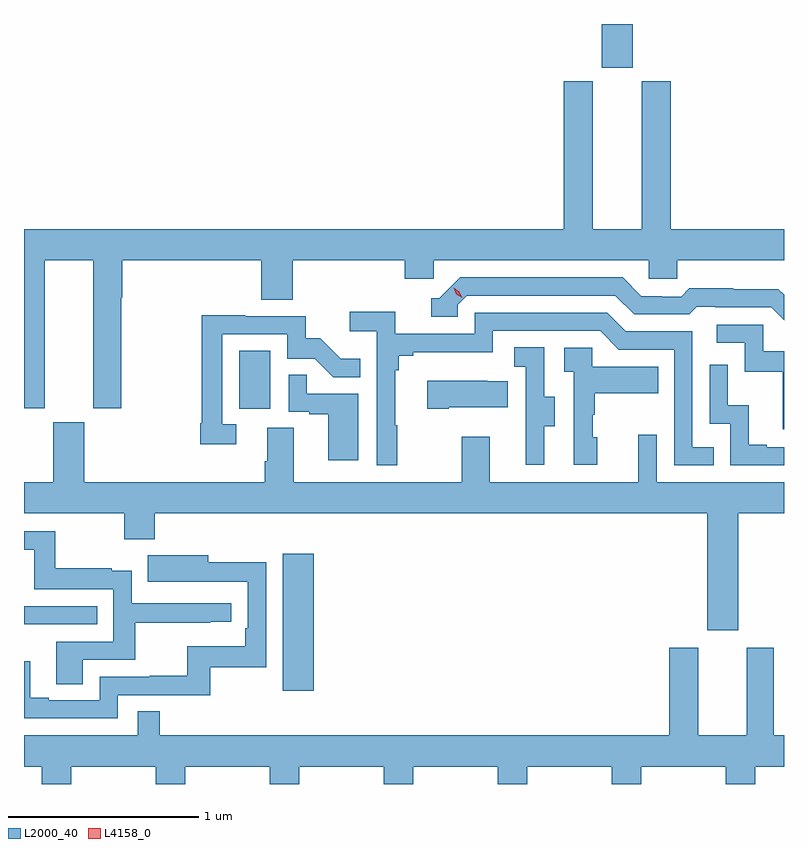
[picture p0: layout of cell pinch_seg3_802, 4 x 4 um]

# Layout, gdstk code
import gdstk
lib = gdstk.Library(unit=1e-6, precision=1e-09)
def R(c, l, rs):  # rectangles x0, y0, x1, y1
    for r in rs: c.add(gdstk.rectangle(r[:2], r[2:], *l))
def P(c, l, *ps):  # polygons
    for p in ps: c.add(gdstk.Polygon(p, *l))
L2000_40 = (2000, 40)
L4158_0 = (4158, 0)

pinch_seg3_802 = lib.new_cell('pinch_seg3_802')
R(pinch_seg3_802, L2000_40, [(857.525,709.308,857.686,710.029), (856.162,709.656,856.547,709.752), (857.294,710.79,857.458,711.097), (859.202,712.587,859.366,712.816)])
P(pinch_seg3_802, L2000_40, [(856.27,711.572),(856.526,711.572),(856.526,710.793),(856.674,710.793),(856.674,711.376),(856.679,711.376),(856.679,711.572),(857.411,711.572),(857.411,711.364),(857.576,711.364),(857.576,711.572),(858.167,711.572),(858.167,711.474),(858.318,711.474),(858.318,711.572),(859.449,711.572),(859.449,711.474),(859.599,711.474),(859.599,711.572),(860.162,711.572),(860.162,711.736),(859.565,711.736),(859.565,712.515),(859.412,712.515),(859.412,711.736),(859.156,711.736),(859.156,712.515),(859.004,712.515),(859.004,711.736),(856.162,711.736),(856.162,710.793),(856.27,710.793)],
  [(860.162,711.391),(860.132,711.421),(859.896,711.421),(859.896,711.424),(859.663,711.424),(859.621,711.381),(859.518,711.381),(859.518,711.384),(859.411,711.384),(859.312,711.483),(858.459,711.483),(858.348,711.372),(858.305,711.372),(858.305,711.276),(858.444,711.276),(858.444,711.339),(858.492,711.387),(859.275,711.387),(859.374,711.288),(859.663,711.288),(859.702,711.327),(859.801,711.327),(859.801,711.324),(860.094,711.324),(860.162,711.256)],
  [(858.127,710.705),(858.115,710.705),(858.115,710.993),(858.134,710.993),(858.134,711.07),(858.211,711.07),(858.211,711.089),(858.63,711.089),(858.63,711.201),(859.194,711.201),(859.293,711.102),(859.584,711.102),(859.584,710.493),(859.793,710.493),(859.793,710.589),(859.68,710.589),(859.68,711.198),(859.33,711.198),(859.231,711.297),(858.534,711.297),(858.534,711.186),(858.116,711.186),(858.116,711.302),(857.877,711.302),(857.877,711.2),(858.018,711.2),(858.018,710.493),(858.127,710.493)],
  [(857.278,710.709),(857.205,710.709),(857.205,711.183),(857.547,711.183),(857.547,711.054),(857.691,711.054),(857.789,710.956),(857.933,710.956),(857.933,711.055),(857.829,711.055),(857.722,711.162),(857.646,711.162),(857.646,711.279),(857.327,711.279),(857.327,711.284),(857.097,711.284),(857.097,710.716),(857.089,710.716),(857.089,710.604),(857.278,710.604)],
  [(860.162,711.093),(860.052,711.093),(860.052,711.234),(859.809,711.234),(859.809,711.138),(859.956,711.138),(859.956,710.985),(860.155,710.985),(860.155,710.682),(860.162,710.682)],
  [(858.901,710.698),(858.955,710.698),(858.955,710.853),(858.9,710.853),(858.9,711.116),(858.741,711.116),(858.741,711.013),(858.804,711.013),(858.804,710.709),(858.803,710.709),(858.803,710.496),(858.901,710.496)],
  [(859.18,710.64),(859.155,710.64),(859.155,710.759),(859.165,710.759),(859.165,710.873),(859.499,710.873),(859.499,711.013),(859.152,711.013),(859.152,711.111),(859.005,711.111),(859.005,710.987),(859.056,710.987),(859.056,710.496),(859.18,710.496)],
  [(860.162,710.589),(860.071,710.589),(860.071,710.602),(859.976,710.602),(859.976,710.81),(859.866,710.81),(859.866,711.022),(859.77,711.022),(859.77,710.712),(859.878,710.712),(859.878,710.493),(860.162,710.493)],
  [(857.92,710.871),(857.651,710.871),(857.651,710.969),(857.556,710.969),(857.556,710.775),(857.663,710.775),(857.663,710.763),(857.762,710.763),(857.762,710.52),(857.92,710.52)],
  [(858.397,710.798),(858.707,710.798),(858.707,710.935),(858.599,710.935),(858.599,710.938),(858.285,710.938),(858.285,710.791),(858.397,710.791)],
  [(859.757,709.626),(859.921,709.626),(859.921,710.24),(860.162,710.24),(860.162,710.404),(859.491,710.404),(859.491,710.653),(859.394,710.653),(859.394,710.404),(858.613,710.404),(858.613,710.644),(858.466,710.644),(858.466,710.404),(857.581,710.404),(857.581,710.69),(857.441,710.69),(857.441,710.516),(857.429,710.516),(857.429,710.404),(856.48,710.404),(856.48,710.721),(856.316,710.721),(856.316,710.404),(856.162,710.404),(856.162,710.24),(856.69,710.24),(856.69,710.105),(856.85,710.105),(856.85,710.24),(859.757,710.24)],
  [(856.471,709.47),(856.748,709.47),(856.748,709.666),(857.141,709.666),(857.141,709.671),(857.254,709.671),(857.254,709.767),(856.728,709.767),(856.728,709.939),(856.625,709.939),(856.625,709.951),(856.327,709.951),(856.327,710.145),(856.162,710.145),(856.162,710.048),(856.216,710.048),(856.216,709.842),(856.632,709.842),(856.632,709.566),(856.331,709.566),(856.331,709.342),(856.471,709.342)],
  [(856.656,709.284),(857.143,709.284),(857.143,709.431),(857.436,709.431),(857.436,709.982),(857.131,709.982),(857.131,710.02),(856.813,710.02),(856.813,709.88),(857.027,709.88),(857.027,709.881),(857.34,709.881),(857.34,709.636),(857.327,709.636),(857.327,709.54),(857.022,709.54),(857.022,709.385),(856.825,709.385),(856.825,709.38),(856.56,709.38),(856.56,709.257),(856.291,709.257),(856.291,709.27),(856.195,709.27),(856.195,709.463),(856.162,709.463),(856.162,709.161),(856.656,709.161)],
  [(856.41,708.908),(856.855,708.908),(856.855,708.816),(857.01,708.816),(857.01,708.908),(857.455,708.908),(857.455,708.816),(857.61,708.816),(857.61,708.908),(858.055,708.908),(858.055,708.816),(858.21,708.816),(858.21,708.908),(858.655,708.908),(858.655,708.816),(858.81,708.816),(858.81,708.908),(859.255,708.908),(859.255,708.816),(859.41,708.816),(859.41,708.908),(859.855,708.908),(859.855,708.816),(860.01,708.816),(860.01,708.908),(860.162,708.908),(860.162,709.072),(860.107,709.072),(860.107,709.534),(859.967,709.534),(859.967,709.072),(859.711,709.072),(859.711,709.534),(859.559,709.534),(859.559,709.072),(856.877,709.072),(856.877,709.199),(856.761,709.199),(856.761,709.072),(856.162,709.072),(856.162,708.908),(856.255,708.908),(856.255,708.816),(856.41,708.816)])
P(pinch_seg3_802, L4158_0, [(858.469,711.374),(858.438,711.394),(858.423,711.427),(858.423,711.427),(858.423,711.427),(858.454,711.407),(858.469,711.374),(858.469,711.374)])

lib.write_gds('pinch_seg3_802.gds')
